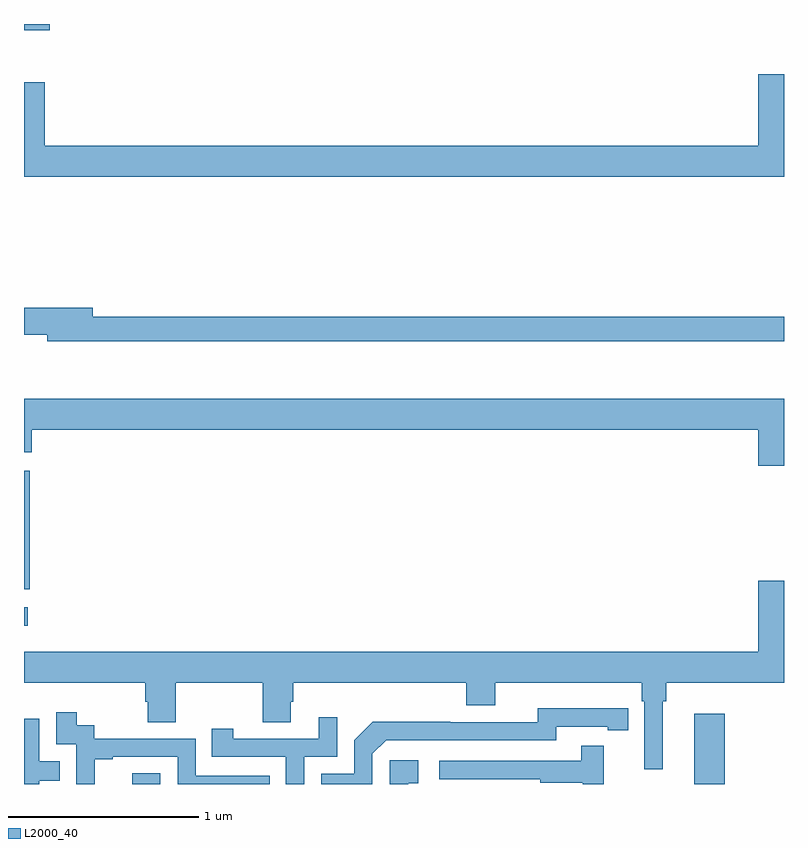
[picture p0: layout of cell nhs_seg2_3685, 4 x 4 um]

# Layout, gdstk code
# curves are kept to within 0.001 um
import gdstk
lib = gdstk.Library(unit=1e-6, precision=1e-09)
def R(c, l, rs):  # rectangles x0, y0, x1, y1
    for r in rs: c.add(gdstk.rectangle(r[:2], r[2:], *l))
def P(c, l, *ps):  # polygons
    for p in ps: c.add(gdstk.Polygon(p, *l))
L2000_40 = (2000, 40)

nhs_seg2_3685 = lib.new_cell('nhs_seg2_3685')
R(nhs_seg2_3685, L2000_40, [(305.571,617.8,305.718,617.857), (308.528,617.8,308.687,618.169), (305,618.632,305.02,618.729), (305,618.825,305.03,619.449), (305,621.768,305.135,621.8)])
P(nhs_seg2_3685, L2000_40, [(309,621.535),(308.864,621.535),(308.864,621.16),(305.108,621.16),(305.108,621.493),(305,621.493),(305,620.996),(309,620.996)],
  [(309,620.258),(305.362,620.258),(305.362,620.306),(305,620.306),(305,620.164),(305.123,620.164),(305.123,620.13),(309,620.13)],
  [(305,619.547),(305.042,619.547),(305.042,619.664),(308.864,619.664),(308.864,619.476),(309,619.476),(309,619.828),(305,619.828)],
  [(308.362,618.236),(308.381,618.236),(308.381,618.332),(309,618.332),(309,618.871),(308.864,618.871),(308.864,618.496),(305,618.496),(305,618.332),(305.639,618.332),(305.639,618.234),(305.651,618.234),(305.651,618.124),(305.799,618.124),(305.799,618.332),(306.256,618.332),(306.256,618.124),(306.403,618.124),(306.403,618.234),(306.416,618.234),(306.416,618.332),(307.328,618.332),(307.328,618.215),(307.48,618.215),(307.48,618.332),(308.252,618.332),(308.252,618.236),(308.265,618.236),(308.265,617.877),(308.362,617.877)],
  [(306.834,617.958),(306.906,618.03),(307.8,618.03),(307.8,618.102),(308.072,618.102),(308.072,618.082),(308.18,618.082),(308.18,618.198),(307.704,618.199),(307.704,618.126),(307.244,618.126),(307.244,618.128),(306.836,618.128),(306.738,618.03),(306.738,617.853),(306.564,617.853),(306.564,617.8),(306.834,617.8)],
  [(305.372,617.931),(305.467,617.931),(305.467,617.943),(305.808,617.943),(305.808,617.8),(306.293,617.8),(306.293,617.844),(305.904,617.844),(305.904,618.039),(305.37,618.039),(305.37,618.108),(305.278,618.108),(305.278,618.178),(305.169,618.178),(305.169,618.009),(305.274,618.009),(305.274,617.8),(305.372,617.8)],
  [(306.474,617.943),(306.648,617.943),(306.648,618.151),(306.551,618.151),(306.551,618.039),(306.1,618.039),(306.1,618.091),(305.989,618.091),(305.989,617.943),(306.378,617.943),(306.378,617.8),(306.474,617.8)],
  [(305.079,617.818),(305.189,617.818),(305.189,617.919),(305.079,617.919),(305.079,618.144),(305,618.144),(305,617.8),(305.079,617.8)],
  [(308.051,618.001),(307.933,618.001),(307.933,617.922),(307.185,617.922),(307.185,617.826),(307.717,617.826),(307.717,617.806),(307.941,617.806),(307.941,617.8),(308.051,617.8)],
  [(307.022,617.805),(307.075,617.805),(307.075,617.926),(306.924,617.926),(306.924,617.8),(307.022,617.8)])

lib.write_gds('nhs_seg2_3685.gds')
